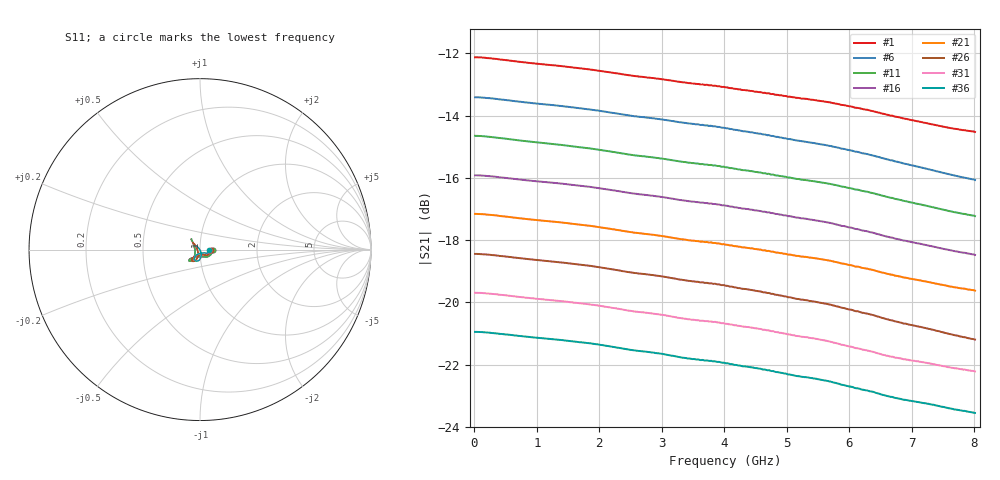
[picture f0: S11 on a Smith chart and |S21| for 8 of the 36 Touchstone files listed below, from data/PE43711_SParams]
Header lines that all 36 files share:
! Device ID: PE43711P
! Serial: 5
! Lot: A0137A
! Temp: 25C
! VDD: 3.300
! VSS: 0.000
! Control_Hi: 3.000
! Control_Lo: 0.000
! Port 1: RF1
! Port 2: RF2
! ThroughPath:1-2
#  Hz  S  RI  R  50
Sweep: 10 MHz to 8.01 GHz
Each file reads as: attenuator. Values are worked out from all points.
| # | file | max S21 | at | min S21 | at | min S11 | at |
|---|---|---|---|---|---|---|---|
| 1 | S_PE43711P_25C_3p300V_3p000V_0p000V_LS_ATT_11p00dB_S2P_SN_5_A0137A.s2p | -12.12 dB | 50 MHz | -14.5 dB | 8.01 GHz | -30.7 dB | 6.64 GHz |
| 2 | S_PE43711P_25C_3p300V_3p000V_0p000V_LS_ATT_11p25dB_S2P_SN_5_A0137A.s2p | -12.39 dB | 10 MHz | -14.9 dB | 8.01 GHz | -30.7 dB | 6.64 GHz |
| 3 | S_PE43711P_25C_3p300V_3p000V_0p000V_LS_ATT_11p50dB_S2P_SN_5_A0137A.s2p | -12.63 dB | 10 MHz | -15.1 dB | 8.01 GHz | -30.7 dB | 6.64 GHz |
| 4 | S_PE43711P_25C_3p300V_3p000V_0p000V_LS_ATT_11p75dB_S2P_SN_5_A0137A.s2p | -12.89 dB | 10 MHz | -15.5 dB | 8.01 GHz | -30.7 dB | 6.65 GHz |
| 5 | S_PE43711P_25C_3p300V_3p000V_0p000V_LS_ATT_12p00dB_S2P_SN_5_A0137A.s2p | -13.15 dB | 10 MHz | -15.7 dB | 8.01 GHz | -30.7 dB | 6.65 GHz |
| 6 | S_PE43711P_25C_3p300V_3p000V_0p000V_LS_ATT_12p25dB_S2P_SN_5_A0137A.s2p | -13.41 dB | 10 MHz | -16.1 dB | 8.01 GHz | -30.7 dB | 6.64 GHz |
| 7 | S_PE43711P_25C_3p300V_3p000V_0p000V_LS_ATT_12p50dB_S2P_SN_5_A0137A.s2p | -13.62 dB | 10 MHz | -16.0 dB | 8.01 GHz | -30.7 dB | 6.64 GHz |
| 8 | S_PE43711P_25C_3p300V_3p000V_0p000V_LS_ATT_12p75dB_S2P_SN_5_A0137A.s2p | -13.89 dB | 50 MHz | -16.4 dB | 8.01 GHz | -30.6 dB | 6.64 GHz |
| 9 | S_PE43711P_25C_3p300V_3p000V_0p000V_LS_ATT_13p00dB_S2P_SN_5_A0137A.s2p | -14.14 dB | 30 MHz | -16.6 dB | 8.01 GHz | -30.7 dB | 6.64 GHz |
| 10 | S_PE43711P_25C_3p300V_3p000V_0p000V_LS_ATT_13p25dB_S2P_SN_5_A0137A.s2p | -14.40 dB | 50 MHz | -17.0 dB | 8.01 GHz | -30.7 dB | 6.64 GHz |
| 11 | S_PE43711P_25C_3p300V_3p000V_0p000V_LS_ATT_13p50dB_S2P_SN_5_A0137A.s2p | -14.65 dB | 10 MHz | -17.2 dB | 8.01 GHz | -30.7 dB | 6.65 GHz |
| 12 | S_PE43711P_25C_3p300V_3p000V_0p000V_LS_ATT_13p75dB_S2P_SN_5_A0137A.s2p | -14.91 dB | 50 MHz | -17.6 dB | 8.01 GHz | -30.7 dB | 6.64 GHz |
| 13 | S_PE43711P_25C_3p300V_3p000V_0p000V_LS_ATT_14p00dB_S2P_SN_5_A0137A.s2p | -15.14 dB | 50 MHz | -17.5 dB | 8.01 GHz | -36.5 dB | 6.89 GHz |
| 14 | S_PE43711P_25C_3p300V_3p000V_0p000V_LS_ATT_14p25dB_S2P_SN_5_A0137A.s2p | -15.40 dB | 40 MHz | -17.9 dB | 8.01 GHz | -36.4 dB | 6.89 GHz |
| 15 | S_PE43711P_25C_3p300V_3p000V_0p000V_LS_ATT_14p50dB_S2P_SN_5_A0137A.s2p | -15.65 dB | 10 MHz | -18.1 dB | 8.01 GHz | -36.4 dB | 6.89 GHz |
| 16 | S_PE43711P_25C_3p300V_3p000V_0p000V_LS_ATT_14p75dB_S2P_SN_5_A0137A.s2p | -15.91 dB | 10 MHz | -18.5 dB | 8.01 GHz | -36.4 dB | 6.89 GHz |
| 17 | S_PE43711P_25C_3p300V_3p000V_0p000V_LS_ATT_15p00dB_S2P_SN_5_A0137A.s2p | -16.16 dB | 10 MHz | -18.7 dB | 8.01 GHz | -36.5 dB | 6.89 GHz |
| 18 | S_PE43711P_25C_3p300V_3p000V_0p000V_LS_ATT_15p25dB_S2P_SN_5_A0137A.s2p | -16.42 dB | 40 MHz | -19.0 dB | 8.01 GHz | -36.5 dB | 6.89 GHz |
| 19 | S_PE43711P_25C_3p300V_3p000V_0p000V_LS_ATT_15p50dB_S2P_SN_5_A0137A.s2p | -16.67 dB | 40 MHz | -19.3 dB | 8.01 GHz | -36.5 dB | 6.89 GHz |
| 20 | S_PE43711P_25C_3p300V_3p000V_0p000V_LS_ATT_15p75dB_S2P_SN_5_A0137A.s2p | -16.94 dB | 40 MHz | -19.7 dB | 8.01 GHz | -36.5 dB | 6.89 GHz |
| 21 | S_PE43711P_25C_3p300V_3p000V_0p000V_LS_ATT_16p00dB_S2P_SN_5_A0137A.s2p | -17.15 dB | 40 MHz | -19.6 dB | 8.01 GHz | -36.4 dB | 6.89 GHz |
| 22 | S_PE43711P_25C_3p300V_3p000V_0p000V_LS_ATT_16p25dB_S2P_SN_5_A0137A.s2p | -17.42 dB | 10 MHz | -20.0 dB | 8.01 GHz | -36.4 dB | 6.89 GHz |
| 23 | S_PE43711P_25C_3p300V_3p000V_0p000V_LS_ATT_16p50dB_S2P_SN_5_A0137A.s2p | -17.67 dB | 10 MHz | -20.2 dB | 8.01 GHz | -36.4 dB | 6.89 GHz |
| 24 | S_PE43711P_25C_3p300V_3p000V_0p000V_LS_ATT_16p75dB_S2P_SN_5_A0137A.s2p | -17.93 dB | 30 MHz | -20.6 dB | 8.01 GHz | -36.4 dB | 6.89 GHz |
| 25 | S_PE43711P_25C_3p300V_3p000V_0p000V_LS_ATT_17p00dB_S2P_SN_5_A0137A.s2p | -18.18 dB | 20 MHz | -20.8 dB | 8.01 GHz | -36.5 dB | 6.89 GHz |
| 26 | S_PE43711P_25C_3p300V_3p000V_0p000V_LS_ATT_17p25dB_S2P_SN_5_A0137A.s2p | -18.44 dB | 20 MHz | -21.2 dB | 8.01 GHz | -36.5 dB | 6.89 GHz |
| 27 | S_PE43711P_25C_3p300V_3p000V_0p000V_LS_ATT_17p50dB_S2P_SN_5_A0137A.s2p | -18.67 dB | 40 MHz | -21.0 dB | 8.01 GHz | -54.0 dB | 7.14 GHz |
| 28 | S_PE43711P_25C_3p300V_3p000V_0p000V_LS_ATT_17p75dB_S2P_SN_5_A0137A.s2p | -18.93 dB | 10 MHz | -21.4 dB | 8.01 GHz | -53.6 dB | 7.14 GHz |
| 29 | S_PE43711P_25C_3p300V_3p000V_0p000V_LS_ATT_18p00dB_S2P_SN_5_A0137A.s2p | -19.18 dB | 10 MHz | -21.6 dB | 8.01 GHz | -53.7 dB | 7.14 GHz |
| 30 | S_PE43711P_25C_3p300V_3p000V_0p000V_LS_ATT_18p25dB_S2P_SN_5_A0137A.s2p | -19.44 dB | 10 MHz | -22.0 dB | 8.01 GHz | -53.7 dB | 7.07 GHz |
| 31 | S_PE43711P_25C_3p300V_3p000V_0p000V_LS_ATT_18p50dB_S2P_SN_5_A0137A.s2p | -19.69 dB | 30 MHz | -22.2 dB | 8.01 GHz | -54.5 dB | 7.14 GHz |
| 32 | S_PE43711P_25C_3p300V_3p000V_0p000V_LS_ATT_18p75dB_S2P_SN_5_A0137A.s2p | -19.95 dB | 40 MHz | -22.6 dB | 8.01 GHz | -54.4 dB | 7.14 GHz |
| 33 | S_PE43711P_25C_3p300V_3p000V_0p000V_LS_ATT_19p00dB_S2P_SN_5_A0137A.s2p | -20.20 dB | 50 MHz | -22.8 dB | 8.01 GHz | -54.1 dB | 7.14 GHz |
| 34 | S_PE43711P_25C_3p300V_3p000V_0p000V_LS_ATT_19p25dB_S2P_SN_5_A0137A.s2p | -20.46 dB | 10 MHz | -23.2 dB | 8.01 GHz | -54.1 dB | 7.14 GHz |
| 35 | S_PE43711P_25C_3p300V_3p000V_0p000V_LS_ATT_19p50dB_S2P_SN_5_A0137A.s2p | -20.68 dB | 10 MHz | -23.2 dB | 8.01 GHz | -53.8 dB | 7.14 GHz |
| 36 | S_PE43711P_25C_3p300V_3p000V_0p000V_LS_ATT_19p75dB_S2P_SN_5_A0137A.s2p | -20.94 dB | 20 MHz | -23.5 dB | 8.01 GHz | -53.7 dB | 7.07 GHz |
